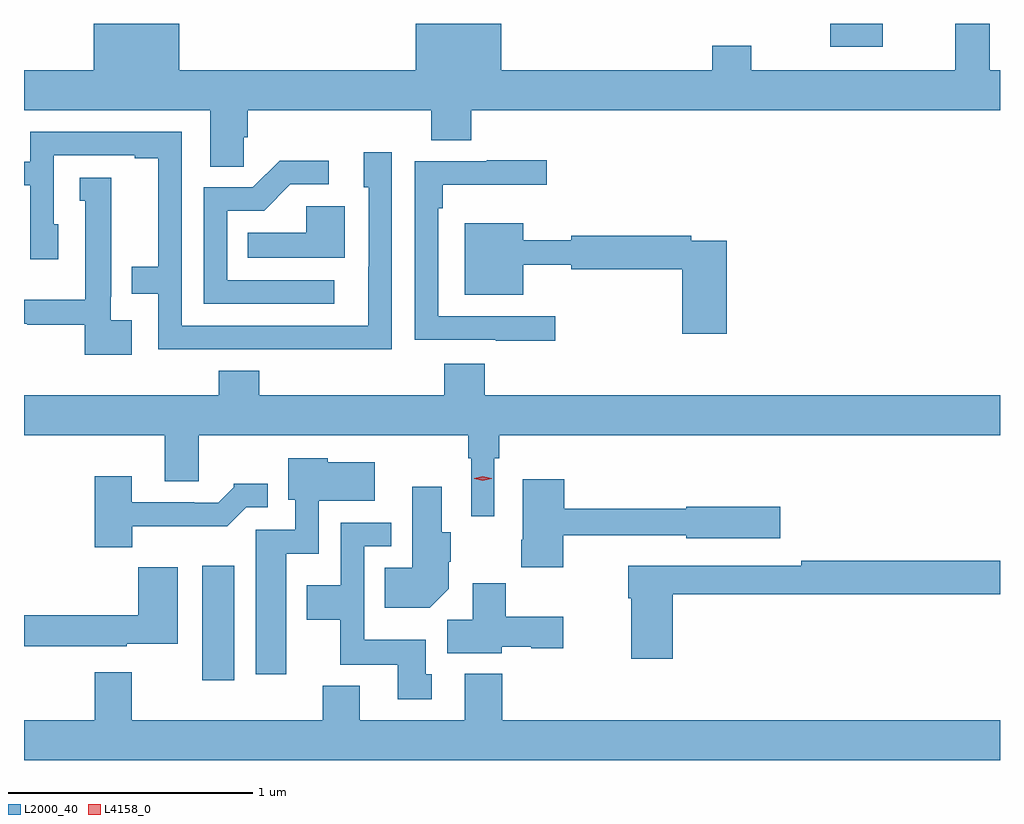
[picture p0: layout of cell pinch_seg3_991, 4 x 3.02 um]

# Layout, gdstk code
import gdstk
lib = gdstk.Library(unit=1e-6, precision=1e-09)
def R(c, l, rs):  # rectangles x0, y0, x1, y1
    for r in rs: c.add(gdstk.rectangle(r[:2], r[2:], *l))
def P(c, l, *ps):  # polygons
    for p in ps: c.add(gdstk.Polygon(p, *l))
L2000_40 = (2000, 40)
L4158_0 = (4158, 0)

pinch_seg3_991 = lib.new_cell('pinch_seg3_991')
R(pinch_seg3_991, L2000_40, [(397.796,691.92,397.927,692.389), (400.371,694.515,400.585,694.609)])
P(pinch_seg3_991, L2000_40, [(397.967,694.144),(397.982,694.144),(397.982,694.256),(398.735,694.256),(398.735,694.132),(398.9,694.132),(398.9,694.256),(401.066,694.256),(401.066,694.42),(401.023,694.42),(401.023,694.609),(400.883,694.609),(400.883,694.42),(400.047,694.42),(400.047,694.519),(399.887,694.519),(399.887,694.42),(399.022,694.42),(399.022,694.609),(398.672,694.609),(398.672,694.42),(397.702,694.42),(397.702,694.609),(397.352,694.609),(397.352,694.42),(397.066,694.42),(397.066,694.256),(397.829,694.256),(397.829,694.024),(397.967,694.024)],
  [(398.574,694.084),(398.459,694.084),(398.459,693.939),(398.478,693.939),(398.478,693.614),(398.477,693.614),(398.477,693.372),(397.713,693.372),(397.713,694.167),(397.092,694.167),(397.092,694.044),(397.066,694.044),(397.066,693.948),(397.092,693.948),(397.092,693.645),(397.207,693.645),(397.207,693.789),(397.188,693.789),(397.188,694.071),(397.52,694.071),(397.52,694.059),(397.616,694.059),(397.616,693.613),(397.508,693.613),(397.508,693.504),(397.617,693.504),(397.617,693.276),(398.113,693.276),(398.113,693.275),(398.574,693.275)],
  [(399.244,693.411),(398.763,693.411),(398.763,693.854),(398.783,693.854),(398.783,693.95),(399.208,693.95),(399.208,694.051),(398.963,694.051),(398.963,694.047),(398.667,694.047),(398.667,693.315),(398.999,693.315),(398.999,693.311),(399.244,693.311)],
  [(398.338,693.558),(397.899,693.558),(397.899,693.843),(398.05,693.843),(398.158,693.951),(398.314,693.951),(398.314,694.049),(398.114,694.049),(398.004,693.939),(397.803,693.939),(397.803,693.462),(398.338,693.462)],
  [(397.507,693.394),(397.422,693.394),(397.422,693.49),(397.423,693.49),(397.423,693.978),(397.295,693.978),(397.295,693.885),(397.316,693.885),(397.316,693.478),(397.066,693.478),(397.066,693.381),(397.08,693.381),(397.08,693.376),(397.314,693.376),(397.314,693.254),(397.507,693.254)],
  [(398.38,693.862),(398.222,693.862),(398.222,693.754),(397.984,693.754),(397.984,693.65),(398.38,693.65)],
  [(399.947,693.72),(399.8,693.72),(399.8,693.74),(399.308,693.74),(399.308,693.723),(399.112,693.723),(399.112,693.793),(398.873,693.793),(398.873,693.5),(399.112,693.5),(399.112,693.623),(399.308,693.623),(399.308,693.604),(399.764,693.604),(399.764,693.339),(399.947,693.339)],
  [(398.954,693.217),(398.789,693.217),(398.789,693.088),(398.03,693.088),(398.03,693.187),(397.865,693.187),(397.865,693.088),(397.066,693.088),(397.066,692.924),(397.643,692.924),(397.643,692.734),(397.783,692.734),(397.783,692.924),(398.886,692.924),(398.886,692.828),(398.898,692.828),(398.898,692.592),(398.994,692.592),(398.994,692.828),(399.014,692.828),(399.014,692.924),(401.066,692.924),(401.066,693.088),(398.954,693.088)],
  [(398.14,692.438),(398.274,692.438),(398.274,692.654),(398.503,692.654),(398.503,692.812),(398.31,692.812),(398.31,692.83),(398.15,692.83),(398.15,692.658),(398.178,692.658),(398.178,692.535),(398.015,692.535),(398.015,691.944),(398.14,691.944)],
  [(397.51,692.55),(397.899,692.55),(397.977,692.628),(398.065,692.628),(398.065,692.725),(397.926,692.725),(397.926,692.71),(397.862,692.646),(397.763,692.646),(397.763,692.649),(397.507,692.649),(397.507,692.755),(397.355,692.755),(397.355,692.465),(397.51,692.465)],
  [(399.276,692.513),(399.78,692.513),(399.78,692.501),(400.165,692.501),(400.165,692.631),(399.78,692.631),(399.78,692.623),(399.281,692.623),(399.281,692.743),(399.11,692.743),(399.11,692.494),(399.103,692.494),(399.103,692.382),(399.276,692.382)],
  [(398.806,692.294),(398.806,692.404),(398.814,692.404),(398.814,692.526),(398.779,692.526),(398.779,692.713),(398.657,692.713),(398.657,692.38),(398.545,692.38),(398.545,692.216),(398.728,692.216)],
  [(398.737,691.944),(398.713,691.944),(398.713,692.086),(398.46,692.086),(398.46,692.469),(398.572,692.469),(398.572,692.565),(398.364,692.565),(398.364,692.308),(398.225,692.308),(398.225,692.168),(398.362,692.168),(398.362,691.982),(398.597,691.982),(398.597,691.842),(398.737,691.842)],
  [(399.725,692.272),(401.066,692.272),(401.066,692.408),(400.252,692.408),(400.252,692.388),(399.542,692.388),(399.542,692.255),(399.554,692.255),(399.554,692.007),(399.725,692.007)],
  [(397.488,692.069),(397.696,692.069),(397.696,692.383),(397.534,692.383),(397.534,692.186),(397.066,692.186),(397.066,692.058),(397.488,692.058)],
  [(399.024,692.057),(399.144,692.057),(399.144,692.05),(399.277,692.05),(399.277,692.179),(399.041,692.179),(399.041,692.317),(398.906,692.317),(398.906,692.168),(398.801,692.168),(398.801,692.03),(399.024,692.03)],
  [(401.066,691.756),(399.026,691.756),(399.026,691.945),(398.873,691.945),(398.873,691.756),(398.443,691.756),(398.443,691.897),(398.291,691.897),(398.291,691.756),(397.507,691.756),(397.507,691.951),(397.355,691.951),(397.355,691.756),(397.066,691.756),(397.066,691.592),(401.066,691.592)])
P(pinch_seg3_991, L4158_0, [(398.946,692.736),(398.911,692.745),(398.911,692.746),(398.911,692.746),(398.946,692.756),(398.982,692.746),(398.982,692.746),(398.982,692.745)])

lib.write_gds('pinch_seg3_991.gds')
